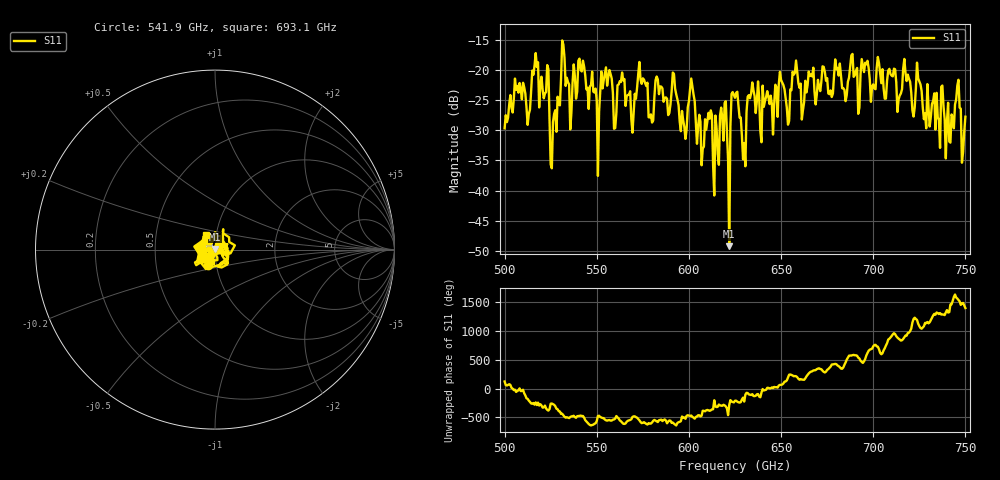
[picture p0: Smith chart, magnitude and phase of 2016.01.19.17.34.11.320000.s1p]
!Created with skrf (http://scikit-rf.org).
# GHz S RI R 50.0
!freq ReS11 ImS11
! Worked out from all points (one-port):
!   401 points, 500 GHz to 750 GHz, reference 50 ohm
!   lowest |S11| = -49.2 dB at 621.9 GHz (marker M1), VSWR 1.01, Z = 50.1 + j0.339 ohm
!   |S11| at or under -10 dB: start of sweep to end of sweep
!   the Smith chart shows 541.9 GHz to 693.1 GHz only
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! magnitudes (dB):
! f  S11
! 500 GHz  -29.7
! 506.9 GHz  -22.6
! 513.1 GHz  -27.3
! 516.9 GHz  -17.2
! 523.1 GHz  -19.2
! 525.6 GHz  -36.3
! 531.2 GHz  -15.1
! 535.6 GHz  -29.9
! 541.9 GHz  -20.2
! 550 GHz  -25.1
! 553.8 GHz  -21.7
! 560 GHz  -29.6
! 562.5 GHz  -21.8
! 579.4 GHz  -27.4
! 593.8 GHz  -24.9
! 598.1 GHz  -31.4
! 601.9 GHz  -22.8
! 614.4 GHz  -27.5
! 618.8 GHz  -31.7
! 621.9 GHz  -49.2
! 625 GHz  -24.6
! 629.4 GHz  -34.8
! 633.1 GHz  -24.7
! 653.8 GHz  -29.1
! 656.2 GHz  -20.3
! 687.5 GHz  -19.5
! 718.8 GHz  -20.8
! 750 GHz  -27.7
